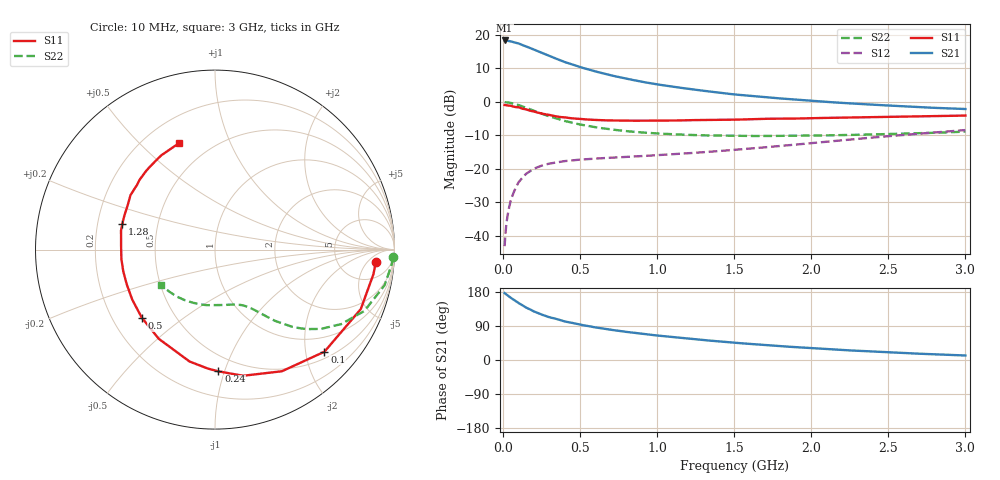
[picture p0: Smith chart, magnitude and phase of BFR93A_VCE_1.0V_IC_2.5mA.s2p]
! Infineon Technologies  Discrete & RF Semiconductors
! BFR93A
! VCE =  1.0 V,  IC =  2.5 mA
! Common Emitter S-Parameters:  Nov 2015
# GHz  S  MA  R  50
!  f  S11  S21  S12  S22
! GHz  MAG  ANG  MAG  ANG  MAG  ANG  MAG  ANG
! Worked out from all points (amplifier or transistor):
!   180 points, 10 MHz to 3 GHz, reference 50 ohm
!   highest |S21| = 18.4 dB at 10 MHz (marker M1)
!   |S21| within 3 dB of that: start of sweep to 214.8 MHz
!   unconditionally stable (mu >= 1): 889.4 MHz to end of sweep
!   at 160 MHz: K = 0.23, MSG = 18.8 dB, |S12| = -21.1 dB
!   at 1.22 GHz: K = 1.16, MAG = 7.1 dB, |S12| = -15.3 dB
!   at 3 GHz: K = 1.04, MAG = 2.0 dB, |S12| = -8.4 dB
!   S11 on the Smith chart (normalised r, x): 10 MHz: 12, -9; 100 MHz: 0.64, -2.39; 240 MHz: 0.38, -0.95; 500 MHz: 0.32, -0.36; 1.28 GHz: 0.31, +0.13; 3 GHz: 0.34, +0.66
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0.01  0.8985 -4.5  8.275 176.6  0.007 87.7  0.9908 -2.5
0.015  0.8951 -6.7  8.265 175.1  0.0104 85.6  0.9893 -3.6
0.025  0.8872 -11.1  8.211 172.0  0.0172 82.3  0.9834 -6.0
0.05  0.8773 -22.2  8.053 164.1  0.0337 77.5  0.9654 -11.9
0.1  0.834 -43.0  7.476 150.4  0.0627 66.6  0.8998 -22.3
0.15  0.7735 -61.2  6.753 138.2  0.0845 57.5  0.8162 -30.6
0.2  0.7202 -77.4  6.064 128.2  0.1005 50.9  0.7377 -36.8
0.24  0.6787 -88.4  5.53 121.6  0.1094 46.5  0.6804 -40.6
0.26  0.6638 -93.5  5.292 118.5  0.1133 44.8  0.6547 -42.2
0.3  0.6394 -102.8  4.85 112.9  0.1198 42.0  0.6081 -45.0
0.4  0.5875 -122.2  3.941 101.7  0.1305 37.1  0.519 -49.9
0.5  0.5572 -137.0  3.307 93.1  0.1374 34.5  0.4593 -53.0
0.52  0.5516 -139.3  3.211 91.8  0.1384 34.3  0.4508 -53.5
0.6  0.5387 -148.9  2.844 85.9  0.1422 33.4  0.417 -55.6
0.7  0.5284 -158.6  2.49 79.6  0.1469 33.2  0.3879 -58.0
0.9  0.5242 -174.3  2 69.4  0.1551 34.5  0.3492 -63.0
1.02  0.5234 178.2  1.798 63.8  0.1609 35.7  0.3361 -66.3
1.28  0.5359 164.3  1.487 53.3  0.1759 38.8  0.3176 -74.7
1.52  0.5436 154.4  1.281 45.0  0.1938 41.7  0.3109 -83.5
2.02  0.5732 136.7  1.03 30.8  0.2444 44.9  0.3147 -103.6
2.52  0.5987 122.0  0.878 20.0  0.3102 43.7  0.3321 -124.9
3  0.6248 108.7  0.783 11.9  0.3795 39.1  0.36 -146.6
